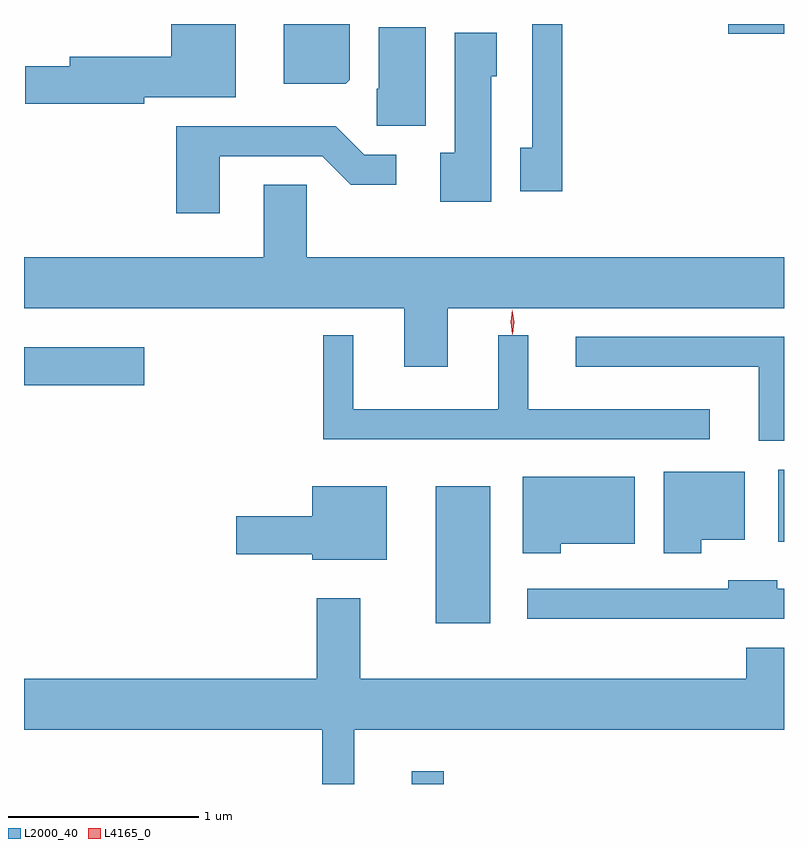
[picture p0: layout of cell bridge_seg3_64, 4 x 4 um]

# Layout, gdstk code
import gdstk
lib = gdstk.Library(unit=1e-6, precision=1e-09)
def R(c, l, rs):  # rectangles x0, y0, x1, y1
    for r in rs: c.add(gdstk.rectangle(r[:2], r[2:], *l))
def P(c, l, *ps):  # polygons
    for p in ps: c.add(gdstk.Polygon(p, *l))
L2000_40 = (2000, 40)
L4165_0 = (4165, 0)

bridge_seg3_64 = lib.new_cell('bridge_seg3_64')
R(bridge_seg3_64, L2000_40, [(1127.131,1170.131,1127.299,1170.198), (1127.256,1170.976,1127.544,1171.699), (1129.061,1171.406,1129.09,1171.784), (1125.09,1172.231,1125.724,1172.429), (1128.796,1174.081,1129.09,1174.131)])
P(bridge_seg3_64, L2000_40, [(1125.724,1173.746),(1126.204,1173.746),(1126.204,1174.131),(1125.866,1174.131),(1125.866,1173.959),(1125.331,1173.959),(1125.331,1173.909),(1125.096,1173.909),(1125.096,1173.711),(1125.724,1173.711)],
  [(1126.804,1173.837),(1126.804,1174.131),(1126.456,1174.131),(1126.456,1173.816),(1126.784,1173.816)],
  [(1127.924,1174.131),(1127.766,1174.131),(1127.766,1173.479),(1127.701,1173.479),(1127.701,1173.251),(1127.924,1173.251)],
  [(1127.204,1174.114),(1126.956,1174.114),(1126.956,1173.79),(1126.946,1173.79),(1126.946,1173.596),(1127.204,1173.596)],
  [(1127.549,1173.856),(1127.579,1173.856),(1127.579,1174.084),(1127.356,1174.084),(1127.356,1173.454),(1127.281,1173.454),(1127.281,1173.196),(1127.549,1173.196)],
  [(1126.119,1173.436),(1126.659,1173.436),(1126.809,1173.286),(1127.048,1173.286),(1127.048,1173.444),(1126.882,1173.444),(1126.732,1173.594),(1125.891,1173.594),(1125.891,1173.136),(1126.119,1173.136)],
  [(1127.319,1172.636),(1129.09,1172.636),(1129.09,1172.904),(1126.579,1172.904),(1126.579,1173.284),(1126.351,1173.284),(1126.351,1172.904),(1125.09,1172.904),(1125.09,1172.636),(1127.091,1172.636),(1127.091,1172.326),(1127.319,1172.326)],
  [(1128.698,1172.104),(1127.744,1172.104),(1127.744,1172.493),(1127.586,1172.493),(1127.586,1172.104),(1126.824,1172.104),(1126.824,1172.493),(1126.666,1172.493),(1126.666,1171.946),(1128.698,1171.946)],
  [(1129.09,1172.484),(1127.993,1172.484),(1127.993,1172.326),(1128.956,1172.326),(1128.956,1171.938),(1129.09,1171.938)],
  [(1128.654,1171.416),(1128.884,1171.416),(1128.884,1171.774),(1128.456,1171.774),(1128.456,1171.346),(1128.654,1171.346)],
  [(1127.914,1171.396),(1128.304,1171.396),(1128.304,1171.749),(1127.716,1171.749),(1127.716,1171.346),(1127.914,1171.346)],
  [(1126.999,1171.699),(1126.606,1171.699),(1126.606,1171.539),(1126.206,1171.539),(1126.206,1171.341),(1126.606,1171.341),(1126.606,1171.311),(1126.999,1171.311)],
  [(1129.09,1171.159),(1129.054,1171.159),(1129.054,1171.204),(1128.796,1171.204),(1128.796,1171.159),(1127.738,1171.159),(1127.738,1171.001),(1129.09,1171.001)],
  [(1126.829,1170.416),(1129.09,1170.416),(1129.09,1170.849),(1128.891,1170.849),(1128.891,1170.684),(1126.859,1170.684),(1126.859,1171.109),(1126.631,1171.109),(1126.631,1170.684),(1125.09,1170.684),(1125.09,1170.416),(1126.661,1170.416),(1126.661,1170.131),(1126.829,1170.131)])
P(bridge_seg3_64, L4165_0, [(1127.661,1172.498),(1127.661,1172.498),(1127.651,1172.562),(1127.66,1172.627),(1127.661,1172.627),(1127.661,1172.627),(1127.671,1172.562),(1127.662,1172.498)])

lib.write_gds('bridge_seg3_64.gds')
